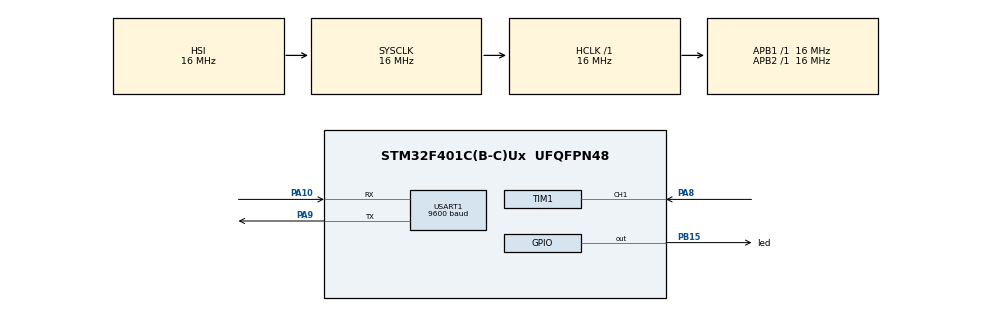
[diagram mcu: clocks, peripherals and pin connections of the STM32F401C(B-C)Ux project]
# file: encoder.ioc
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Mcu.Family=STM32F4
Mcu.Name=STM32F401C(B-C)Ux
Mcu.Package=UFQFPN48
NVIC.PriorityGroup=NVIC_PRIORITYGROUP_4
NVIC.TIM1_CC_IRQn=true\:0\:0\:false\:false\:true\:true\:true\:true
PA10.Mode=Asynchronous
PA10.Signal=USART1_RX
PA8.Signal=S_TIM1_CH1
PA9.Mode=Asynchronous
PA9.Signal=USART1_TX
PB15.GPIO_Label=led
PB15.Signal=GPIO_Output
ProjectManager.HeapSize=0x200
ProjectManager.StackSize=0x400
ProjectManager.TargetToolchain=STM32CubeIDE
RCC.AHBFreq_Value=16000000
RCC.APB1Freq_Value=16000000
RCC.APB2Freq_Value=16000000
RCC.CortexFreq_Value=16000000
RCC.HSE_VALUE=25000000
RCC.HSI_VALUE=16000000
RCC.LSE_VALUE=32768
RCC.SYSCLKFreq_VALUE=16000000
RCC.VCOOutputFreq_Value=192000000
SH.S_TIM1_CH1.0=TIM1_CH1,Input_Capture1_from_TI1
TIM1.AutoReloadPreload=TIM_AUTORELOAD_PRELOAD_ENABLE
TIM1.Channel-Input_Capture1_from_TI1=TIM_CHANNEL_1
TIM1.Prescaler=8000-1
USART1.BaudRate=9600
USART1.VirtualMode=VM_ASYNC
VP_TIM1_VS_ClockSourceINT.Mode=Internal
board=custom

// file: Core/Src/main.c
/* USER CODE BEGIN Header */
/**
  ******************************************************************************
  * @file           : main.c
  * @brief          : Main program body
  ******************************************************************************
  * @attention
  *
  * Copyright (c) 2024 STMicroelectronics.
  * All rights reserved.
  *
  * This software is licensed under terms that can be found in the LICENSE file
  * in the root directory of this software component.
  * If no LICENSE file comes with this software, it is provided AS-IS.
  *
  ******************************************************************************
  */
/* USER CODE END Header */
#include "main.h"

/* USER CODE BEGIN Includes */
#include "uart.h"
#include "Frecuencia.h"

#include "stdio.h"
#include "stdlib.h"
#include "stdint.h"
#include "string.h"
/* USER CODE END Includes */

TIM_HandleTypeDef htim1;

UART_HandleTypeDef huart1;

/* USER CODE BEGIN PV */
char texto[100];
extern uint32_t frecmuestreo ;
extern uint32_t frec1;
float frecuencia1;

/* USER CODE END PV */

void SystemClock_Config(void);
static void MX_GPIO_Init(void);
static void MX_TIM1_Init(void);
static void MX_USART1_UART_Init(void);

int main(void)
{

  /* MCU Configuration--------------------------------------------------------*/

  /* Reset of all peripherals, Initializes the Flash interface and the Systick. */
  HAL_Init();

  /* Configure the system clock */
  SystemClock_Config();

  /* Initialize all configured peripherals */
  MX_GPIO_Init();
  MX_TIM1_Init();
  MX_USART1_UART_Init();
  /* USER CODE BEGIN 2 */
     Frec1_Init();

    sprintf(texto,"frec_muestreo=%lu \r\n",frecmuestreo);
     uartx_write_text(&huart1, texto);

  /* USER CODE END 2 */

  /* Infinite loop */
  /* USER CODE BEGIN WHILE */
  while (1)
  {

		HAL_GPIO_TogglePin(led_GPIO_Port, led_Pin);
	    frecuencia1=frecmuestreo/frec1;

	   //limpia las frecuecnia usadas;
	   frec1=0;

	  sprintf(texto,"RPM=%.1f\r\n",frecuencia1);
	  uartx_write_text(&huart1, texto);
	  HAL_Delay(300);

    /* USER CODE END WHILE */

  }
}

void SystemClock_Config(void)
{
  RCC_OscInitTypeDef RCC_OscInitStruct = {0};
  RCC_ClkInitTypeDef RCC_ClkInitStruct = {0};

  /** Configure the main internal regulator output voltage
  */
  __HAL_RCC_PWR_CLK_ENABLE();
  __HAL_PWR_VOLTAGESCALING_CONFIG(PWR_REGULATOR_VOLTAGE_SCALE2);

  /** Initializes the RCC Oscillators according to the specified parameters
  * in the RCC_OscInitTypeDef structure.
  */
  RCC_OscInitStruct.OscillatorType = RCC_OSCILLATORTYPE_HSI;
  RCC_OscInitStruct.HSIState = RCC_HSI_ON;
  RCC_OscInitStruct.HSICalibrationValue = RCC_HSICALIBRATION_DEFAULT;
  RCC_OscInitStruct.PLL.PLLState = RCC_PLL_NONE;
  if (HAL_RCC_OscConfig(&RCC_OscInitStruct) != HAL_OK)
  {
    Error_Handler();
  }

  /** Initializes the CPU, AHB and APB buses clocks
  */
  RCC_ClkInitStruct.ClockType = RCC_CLOCKTYPE_HCLK|RCC_CLOCKTYPE_SYSCLK
                              |RCC_CLOCKTYPE_PCLK1|RCC_CLOCKTYPE_PCLK2;
  RCC_ClkInitStruct.SYSCLKSource = RCC_SYSCLKSOURCE_HSI;
  RCC_ClkInitStruct.AHBCLKDivider = RCC_SYSCLK_DIV1;
  RCC_ClkInitStruct.APB1CLKDivider = RCC_HCLK_DIV1;
  RCC_ClkInitStruct.APB2CLKDivider = RCC_HCLK_DIV1;

  if (HAL_RCC_ClockConfig(&RCC_ClkInitStruct, FLASH_LATENCY_0) != HAL_OK)
  {
    Error_Handler();
  }
}

static void MX_TIM1_Init(void)
{

  TIM_ClockConfigTypeDef sClockSourceConfig = {0};
  TIM_MasterConfigTypeDef sMasterConfig = {0};
  TIM_IC_InitTypeDef sConfigIC = {0};

  htim1.Instance = TIM1;
  htim1.Init.Prescaler = 8000-1;
  htim1.Init.CounterMode = TIM_COUNTERMODE_UP;
  htim1.Init.Period = 65535;
  htim1.Init.ClockDivision = TIM_CLOCKDIVISION_DIV1;
  htim1.Init.RepetitionCounter = 0;
  htim1.Init.AutoReloadPreload = TIM_AUTORELOAD_PRELOAD_ENABLE;
  if (HAL_TIM_Base_Init(&htim1) != HAL_OK)
  {
    Error_Handler();
  }
  sClockSourceConfig.ClockSource = TIM_CLOCKSOURCE_INTERNAL;
  if (HAL_TIM_ConfigClockSource(&htim1, &sClockSourceConfig) != HAL_OK)
  {
    Error_Handler();
  }
  if (HAL_TIM_IC_Init(&htim1) != HAL_OK)
  {
    Error_Handler();
  }
  sMasterConfig.MasterOutputTrigger = TIM_TRGO_RESET;
  sMasterConfig.MasterSlaveMode = TIM_MASTERSLAVEMODE_DISABLE;
  if (HAL_TIMEx_MasterConfigSynchronization(&htim1, &sMasterConfig) != HAL_OK)
  {
    Error_Handler();
  }
  sConfigIC.ICPolarity = TIM_INPUTCHANNELPOLARITY_RISING;
  sConfigIC.ICSelection = TIM_ICSELECTION_DIRECTTI;
  sConfigIC.ICPrescaler = TIM_ICPSC_DIV1;
  sConfigIC.ICFilter = 0;
  if (HAL_TIM_IC_ConfigChannel(&htim1, &sConfigIC, TIM_CHANNEL_1) != HAL_OK)
  {
    Error_Handler();
  }

}

static void MX_USART1_UART_Init(void)
{

  huart1.Instance = USART1;
  huart1.Init.BaudRate = 9600;
  huart1.Init.WordLength = UART_WORDLENGTH_8B;
  huart1.Init.StopBits = UART_STOPBITS_1;
  huart1.Init.Parity = UART_PARITY_NONE;
  huart1.Init.Mode = UART_MODE_TX_RX;
  huart1.Init.HwFlowCtl = UART_HWCONTROL_NONE;
  huart1.Init.OverSampling = UART_OVERSAMPLING_16;
  if (HAL_UART_Init(&huart1) != HAL_OK)
  {
    Error_Handler();
  }

}

static void MX_GPIO_Init(void)
{
  GPIO_InitTypeDef GPIO_InitStruct = {0};

  /* GPIO Ports Clock Enable */
  __HAL_RCC_GPIOB_CLK_ENABLE();
  __HAL_RCC_GPIOA_CLK_ENABLE();

  /*Configure GPIO pin Output Level */
  HAL_GPIO_WritePin(led_GPIO_Port, led_Pin, GPIO_PIN_RESET);

  /*Configure GPIO pin : led_Pin */
  GPIO_InitStruct.Pin = led_Pin;
  GPIO_InitStruct.Mode = GPIO_MODE_OUTPUT_PP;
  GPIO_InitStruct.Pull = GPIO_NOPULL;
  GPIO_InitStruct.Speed = GPIO_SPEED_FREQ_LOW;
  HAL_GPIO_Init(led_GPIO_Port, &GPIO_InitStruct);

}

void Error_Handler(void)
{
  __disable_irq();
  while (1)
  {
  }
}
